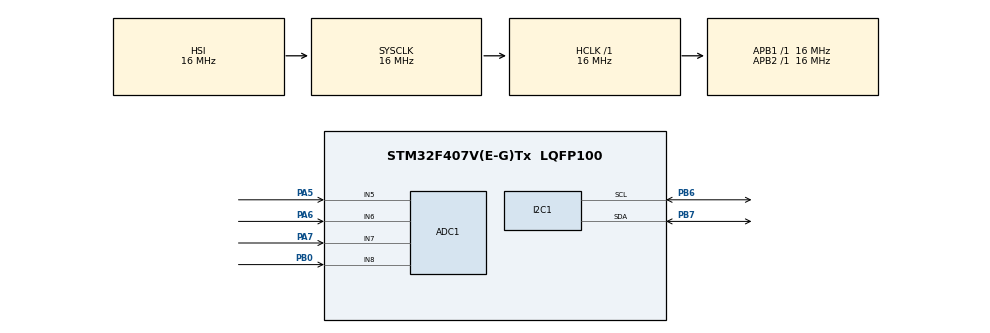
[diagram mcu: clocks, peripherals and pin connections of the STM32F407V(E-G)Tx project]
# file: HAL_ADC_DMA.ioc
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ADC1.Channel-0\#ChannelRegularConversion=ADC_CHANNEL_5
ADC1.Channel-1\#ChannelRegularConversion=ADC_CHANNEL_6
ADC1.Channel-2\#ChannelRegularConversion=ADC_CHANNEL_7
ADC1.Channel-3\#ChannelRegularConversion=ADC_CHANNEL_8
ADC1.ContinuousConvMode=ENABLE
ADC1.DMAContinuousRequests=ENABLE
ADC1.NbrOfConversion=4
ADC1.NbrOfConversionFlag=1
ADC1.Rank-0\#ChannelRegularConversion=1
ADC1.Rank-1\#ChannelRegularConversion=2
ADC1.Rank-2\#ChannelRegularConversion=3
ADC1.Rank-3\#ChannelRegularConversion=4
ADC1.SamplingTime-0\#ChannelRegularConversion=ADC_SAMPLETIME_3CYCLES
ADC1.SamplingTime-1\#ChannelRegularConversion=ADC_SAMPLETIME_3CYCLES
ADC1.SamplingTime-2\#ChannelRegularConversion=ADC_SAMPLETIME_3CYCLES
ADC1.SamplingTime-3\#ChannelRegularConversion=ADC_SAMPLETIME_3CYCLES
ADC1.ScanConvMode=ENABLE
ADC1.master=1
Dma.ADC1.0.Direction=DMA_PERIPH_TO_MEMORY
Dma.ADC1.0.FIFOMode=DMA_FIFOMODE_ENABLE
Dma.ADC1.0.FIFOThreshold=DMA_FIFO_THRESHOLD_HALFFULL
Dma.ADC1.0.Instance=DMA2_Stream0
Dma.ADC1.0.MemBurst=DMA_MBURST_SINGLE
Dma.ADC1.0.MemDataAlignment=DMA_MDATAALIGN_HALFWORD
Dma.ADC1.0.MemInc=DMA_MINC_ENABLE
Dma.ADC1.0.Mode=DMA_CIRCULAR
Dma.ADC1.0.PeriphBurst=DMA_PBURST_SINGLE
Dma.ADC1.0.PeriphDataAlignment=DMA_PDATAALIGN_HALFWORD
Dma.ADC1.0.PeriphInc=DMA_PINC_DISABLE
Dma.ADC1.0.Priority=DMA_PRIORITY_MEDIUM
Dma.Request0=ADC1
I2C1.I2C_Mode=I2C_Fast
Mcu.Family=STM32F4
Mcu.Name=STM32F407V(E-G)Tx
Mcu.Package=LQFP100
NVIC.DMA2_Stream0_IRQn=true\:0\:0\:false\:false\:true\:false\:true\:true
NVIC.PriorityGroup=NVIC_PRIORITYGROUP_4
PA13.Mode=Serial_Wire
PA13.Signal=SYS_JTMS-SWDIO
PA14.Mode=Serial_Wire
PA14.Signal=SYS_JTCK-SWCLK
PA5.Signal=ADCx_IN5
PA6.Signal=ADCx_IN6
PA7.Signal=ADCx_IN7
PB0.Signal=ADCx_IN8
PB6.Mode=I2C
PB6.Signal=I2C1_SCL
PB7.Mode=I2C
PB7.Signal=I2C1_SDA
PH0-OSC_IN.Mode=HSE-External-Oscillator
PH0-OSC_IN.Signal=RCC_OSC_IN
PH1-OSC_OUT.Mode=HSE-External-Oscillator
PH1-OSC_OUT.Signal=RCC_OSC_OUT
ProjectManager.HeapSize=0x200
ProjectManager.StackSize=0x400
ProjectManager.TargetToolchain=STM32CubeIDE
RCC.AHBFreq_Value=16000000
RCC.APB1Freq_Value=16000000
RCC.APB2Freq_Value=16000000
RCC.CortexFreq_Value=16000000
RCC.HSE_VALUE=25000000
RCC.HSI_VALUE=16000000
RCC.LSE_VALUE=32768
RCC.SYSCLKFreq_VALUE=16000000
RCC.VCOOutputFreq_Value=192000000
SH.ADCx_IN5.0=ADC1_IN5,IN5
SH.ADCx_IN6.0=ADC1_IN6,IN6
SH.ADCx_IN7.0=ADC1_IN7,IN7
SH.ADCx_IN8.0=ADC1_IN8,IN8
board=custom

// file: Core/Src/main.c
/* USER CODE BEGIN Header */
/**
  ******************************************************************************
  * @file           : main.c
  * @brief          : Main program body
  ******************************************************************************
  * @attention
  *
  * Copyright (c) 2024 STMicroelectronics.
  * All rights reserved.
  *
  * This software is licensed under terms that can be found in the LICENSE file
  * in the root directory of this software component.
  * If no LICENSE file comes with this software, it is provided AS-IS.
  *
  ******************************************************************************
  */
/* USER CODE END Header */
#include "main.h"

/* USER CODE BEGIN Includes */
#include "ssd1306.h"
#include "fonts.h"
#include "float_to_char.h"
/* USER CODE END Includes */

ADC_HandleTypeDef hadc1;
DMA_HandleTypeDef hdma_adc1;

I2C_HandleTypeDef hi2c1;

/* USER CODE BEGIN PV */
uint16_t ADC_Data[4];
/* USER CODE END PV */

void SystemClock_Config(void);
static void MX_GPIO_Init(void);
static void MX_DMA_Init(void);
static void MX_ADC1_Init(void);
static void MX_I2C1_Init(void);

int main(void)
{
  /* USER CODE BEGIN 1 */
	float u[4];
	char str[9];
  /* USER CODE END 1 */

  /* MCU Configuration--------------------------------------------------------*/

  /* Reset of all peripherals, Initializes the Flash interface and the Systick. */
  HAL_Init();

  /* Configure the system clock */
  SystemClock_Config();

  /* Initialize all configured peripherals */
  MX_GPIO_Init();
  MX_DMA_Init();
  MX_ADC1_Init();
  MX_I2C1_Init();
  /* USER CODE BEGIN 2 */
  SSD1306_Init(hi2c1);
  HAL_Delay(500);
  SSD1306_Clear(hi2c1);
  SSD1306_GotoXY(30, 0);
  SSD1306_Puts("STM32", &Font_11x18, 1);
  HAL_Delay(500);
  HAL_ADC_Start_DMA(&hadc1, (uint32_t*)&ADC_Data, 4);
  /* USER CODE END 2 */

  /* Infinite loop */
  /* USER CODE BEGIN WHILE */
  while (1)
  {
	  SSD1306_GotoXY(30, 0);
	  SSD1306_Puts("STM32", &Font_11x18, 1);

	  u[0] = ((float)ADC_Data[0])*3/4096;
	  float_to_char((uint8_t*)&str, u[0], 5);
	  SSD1306_GotoXY(30, 30);
	  SSD1306_Puts(str, &Font_11x18, 1);
	  SSD1306_UpdateScreen(hi2c1);

    /* USER CODE END WHILE */

  }
}

void SystemClock_Config(void)
{
  RCC_OscInitTypeDef RCC_OscInitStruct = {0};
  RCC_ClkInitTypeDef RCC_ClkInitStruct = {0};

  /** Configure the main internal regulator output voltage
  */
  __HAL_RCC_PWR_CLK_ENABLE();
  __HAL_PWR_VOLTAGESCALING_CONFIG(PWR_REGULATOR_VOLTAGE_SCALE1);

  /** Initializes the RCC Oscillators according to the specified parameters
  * in the RCC_OscInitTypeDef structure.
  */
  RCC_OscInitStruct.OscillatorType = RCC_OSCILLATORTYPE_HSI;
  RCC_OscInitStruct.HSIState = RCC_HSI_ON;
  RCC_OscInitStruct.HSICalibrationValue = RCC_HSICALIBRATION_DEFAULT;
  RCC_OscInitStruct.PLL.PLLState = RCC_PLL_NONE;
  if (HAL_RCC_OscConfig(&RCC_OscInitStruct) != HAL_OK)
  {
    Error_Handler();
  }

  /** Initializes the CPU, AHB and APB buses clocks
  */
  RCC_ClkInitStruct.ClockType = RCC_CLOCKTYPE_HCLK|RCC_CLOCKTYPE_SYSCLK
                              |RCC_CLOCKTYPE_PCLK1|RCC_CLOCKTYPE_PCLK2;
  RCC_ClkInitStruct.SYSCLKSource = RCC_SYSCLKSOURCE_HSI;
  RCC_ClkInitStruct.AHBCLKDivider = RCC_SYSCLK_DIV1;
  RCC_ClkInitStruct.APB1CLKDivider = RCC_HCLK_DIV1;
  RCC_ClkInitStruct.APB2CLKDivider = RCC_HCLK_DIV1;

  if (HAL_RCC_ClockConfig(&RCC_ClkInitStruct, FLASH_LATENCY_0) != HAL_OK)
  {
    Error_Handler();
  }
}

static void MX_ADC1_Init(void)
{

  ADC_ChannelConfTypeDef sConfig = {0};

  /** Configure the global features of the ADC (Clock, Resolution, Data Alignment and number of conversion)
  */
  hadc1.Instance = ADC1;
  hadc1.Init.ClockPrescaler = ADC_CLOCK_SYNC_PCLK_DIV2;
  hadc1.Init.Resolution = ADC_RESOLUTION_12B;
  hadc1.Init.ScanConvMode = ENABLE;
  hadc1.Init.ContinuousConvMode = ENABLE;
  hadc1.Init.DiscontinuousConvMode = DISABLE;
  hadc1.Init.ExternalTrigConvEdge = ADC_EXTERNALTRIGCONVEDGE_NONE;
  hadc1.Init.ExternalTrigConv = ADC_SOFTWARE_START;
  hadc1.Init.DataAlign = ADC_DATAALIGN_RIGHT;
  hadc1.Init.NbrOfConversion = 4;
  hadc1.Init.DMAContinuousRequests = ENABLE;
  hadc1.Init.EOCSelection = ADC_EOC_SINGLE_CONV;
  if (HAL_ADC_Init(&hadc1) != HAL_OK)
  {
    Error_Handler();
  }

  /** Configure for the selected ADC regular channel its corresponding rank in the sequencer and its sample time.
  */
  sConfig.Channel = ADC_CHANNEL_5;
  sConfig.Rank = 1;
  sConfig.SamplingTime = ADC_SAMPLETIME_3CYCLES;
  if (HAL_ADC_ConfigChannel(&hadc1, &sConfig) != HAL_OK)
  {
    Error_Handler();
  }

  /** Configure for the selected ADC regular channel its corresponding rank in the sequencer and its sample time.
  */
  sConfig.Channel = ADC_CHANNEL_6;
  sConfig.Rank = 2;
  if (HAL_ADC_ConfigChannel(&hadc1, &sConfig) != HAL_OK)
  {
    Error_Handler();
  }

  /** Configure for the selected ADC regular channel its corresponding rank in the sequencer and its sample time.
  */
  sConfig.Channel = ADC_CHANNEL_7;
  sConfig.Rank = 3;
  if (HAL_ADC_ConfigChannel(&hadc1, &sConfig) != HAL_OK)
  {
    Error_Handler();
  }

  /** Configure for the selected ADC regular channel its corresponding rank in the sequencer and its sample time.
  */
  sConfig.Channel = ADC_CHANNEL_8;
  sConfig.Rank = 4;
  if (HAL_ADC_ConfigChannel(&hadc1, &sConfig) != HAL_OK)
  {
    Error_Handler();
  }

}

static void MX_I2C1_Init(void)
{

  hi2c1.Instance = I2C1;
  hi2c1.Init.ClockSpeed = 400000;
  hi2c1.Init.DutyCycle = I2C_DUTYCYCLE_2;
  hi2c1.Init.OwnAddress1 = 0;
  hi2c1.Init.AddressingMode = I2C_ADDRESSINGMODE_7BIT;
  hi2c1.Init.DualAddressMode = I2C_DUALADDRESS_DISABLE;
  hi2c1.Init.OwnAddress2 = 0;
  hi2c1.Init.GeneralCallMode = I2C_GENERALCALL_DISABLE;
  hi2c1.Init.NoStretchMode = I2C_NOSTRETCH_DISABLE;
  if (HAL_I2C_Init(&hi2c1) != HAL_OK)
  {
    Error_Handler();
  }

}

static void MX_DMA_Init(void)
{

  /* DMA controller clock enable */
  __HAL_RCC_DMA2_CLK_ENABLE();

  /* DMA interrupt init */
  /* DMA2_Stream0_IRQn interrupt configuration */
  HAL_NVIC_SetPriority(DMA2_Stream0_IRQn, 0, 0);
  HAL_NVIC_EnableIRQ(DMA2_Stream0_IRQn);

}

static void MX_GPIO_Init(void)
{

  /* GPIO Ports Clock Enable */
  __HAL_RCC_GPIOH_CLK_ENABLE();
  __HAL_RCC_GPIOA_CLK_ENABLE();
  __HAL_RCC_GPIOB_CLK_ENABLE();

}

/* USER CODE BEGIN 4 */
void HAL_ADC_ConvCpltCallback(ADC_HandleTypeDef* hadc1)
{

}
/* USER CODE END 4 */

void Error_Handler(void)
{
  __disable_irq();
  while (1)
  {
  }
}
